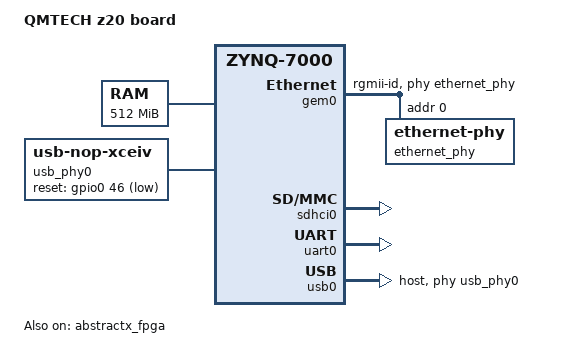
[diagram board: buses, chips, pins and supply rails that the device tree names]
// SPDX-License-Identifier: GPL-2.0+
/*
 *  Copyright (C) 2011 - 2015 Xilinx
 *  Copyright (C) 2012 National Instruments Corp.
 *  Copyright (C) 2026 Tim Michals
 */
/dts-v1/;
#include "zynq-7000.dtsi"
#include <dt-bindings/gpio/gpio.h>

/ {
	model = "QMTECH z20 board";
	compatible = "qmtech,zynq-qmtech", "xlnx,zynq-qmtech", "xlnx,zynq-7000";

	aliases {
		ethernet0 = &gem0;
		serial0 = &uart0;
		mmc0 = &sdhci0;
	};

	memory@0 {
		device_type = "memory";
		reg = <0x0 0x20000000>;
	};

	chosen {
		bootargs = "";
		stdout-path = "serial0:115200n8";
	};

	usb_phy0: phy0 {
		compatible = "usb-nop-xceiv";
		#phy-cells = <0>;
		reset-gpios = <&gpio0 46 GPIO_ACTIVE_LOW>;
		drv-vbus;
	};
};

&clkc {
	ps-clk-frequency = <33333333>;
};

&gem0 {
	status = "okay";
	phy-mode = "rgmii-id";
	phy-handle = <&ethernet_phy>;

	ethernet_phy: ethernet-phy@0 {
		reg = <0>;
	};
};

&sdhci0 {
	bootph-all;
	status = "okay";
};

&uart0 {
	bootph-all;
	status = "okay";
};

&usb0 {
	status = "okay";
	dr_mode = "host";
	phy_type = "ulpi";
	usb-phy = <&usb_phy0>;
	disable-over-current;
	usb-role-switch;
};

&amba {
	abstractx_fpga: fpga-fabric@40000000 {
		compatible = "generic-uio";
		reg = <0x40000000 0x10000>;
		interrupt-parent = <&intc>;
		interrupts = <0 29 4>; /* IRQ_F2P[0] */
		status = "okay";
	};
};
